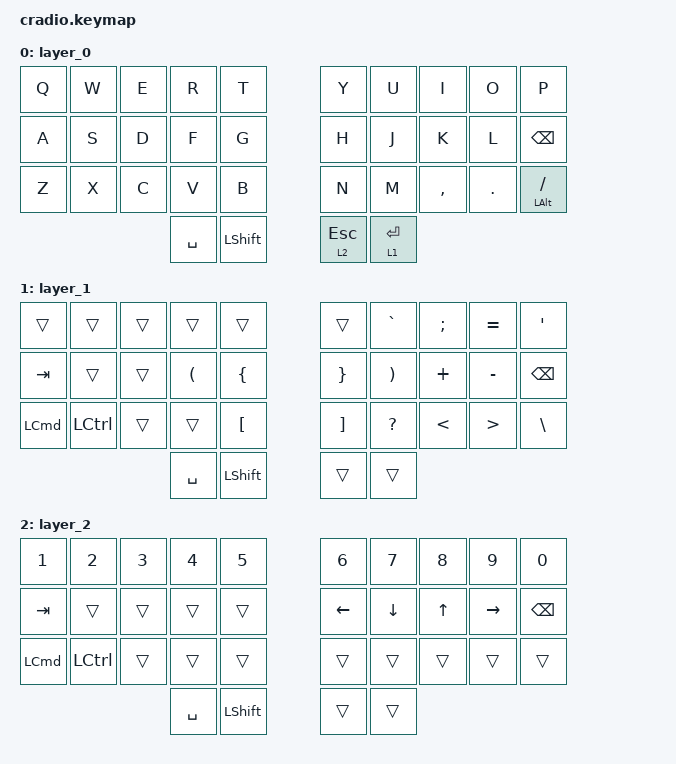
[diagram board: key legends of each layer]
#include <behaviors.dtsi>
#include <dt-bindings/zmk/keys.h>

/ {
    keymap {
        compatible = "zmk,keymap";

        layer_0 {
            bindings = <
&kp Q  &kp W  &kp E  &kp R      &kp T             &kp Y         &kp U        &kp I      &kp O    &kp P
&kp A  &kp S  &kp D  &kp F      &kp G             &kp H         &kp J        &kp K      &kp L    &kp BACKSPACE
&kp Z  &kp X  &kp C  &kp V      &kp B             &kp N         &kp M        &kp COMMA  &kp DOT  &mt LEFT_ALT SLASH
                     &kp SPACE  &kp LEFT_SHIFT    &lt 2 ESCAPE  &lt 1 ENTER
            >;
        };

        layer_1 {
            bindings = <
&trans            &trans            &trans  &trans                &trans              &trans             &kp GRAVE              &kp SEMI       &kp EQUAL         &kp SINGLE_QUOTE
&kp TAB           &trans            &trans  &kp LEFT_PARENTHESIS  &kp LEFT_BRACE      &kp RIGHT_BRACE    &kp RIGHT_PARENTHESIS  &kp PLUS       &kp MINUS         &kp BACKSPACE
&kp LEFT_COMMAND  &kp LEFT_CONTROL  &trans  &trans                &kp LEFT_BRACKET    &kp RIGHT_BRACKET  &kp QUESTION           &kp LESS_THAN  &kp GREATER_THAN  &kp BACKSLASH
                                            &kp SPACE             &kp LEFT_SHIFT      &trans             &trans
            >;
        };

        layer_2 {
            bindings = <
&kp N1            &kp N2            &kp N3  &kp N4     &kp N5            &kp N6          &kp N7          &kp N8        &kp N9           &kp N0
&kp TAB           &trans            &trans  &trans     &trans            &kp LEFT_ARROW  &kp DOWN_ARROW  &kp UP_ARROW  &kp RIGHT_ARROW  &kp BSPC
&kp LEFT_COMMAND  &kp LEFT_CONTROL  &trans  &trans     &trans            &trans          &trans          &trans        &trans           &trans
                                            &kp SPACE  &kp LEFT_SHIFT    &trans          &trans
            >;
        };
    };
};
